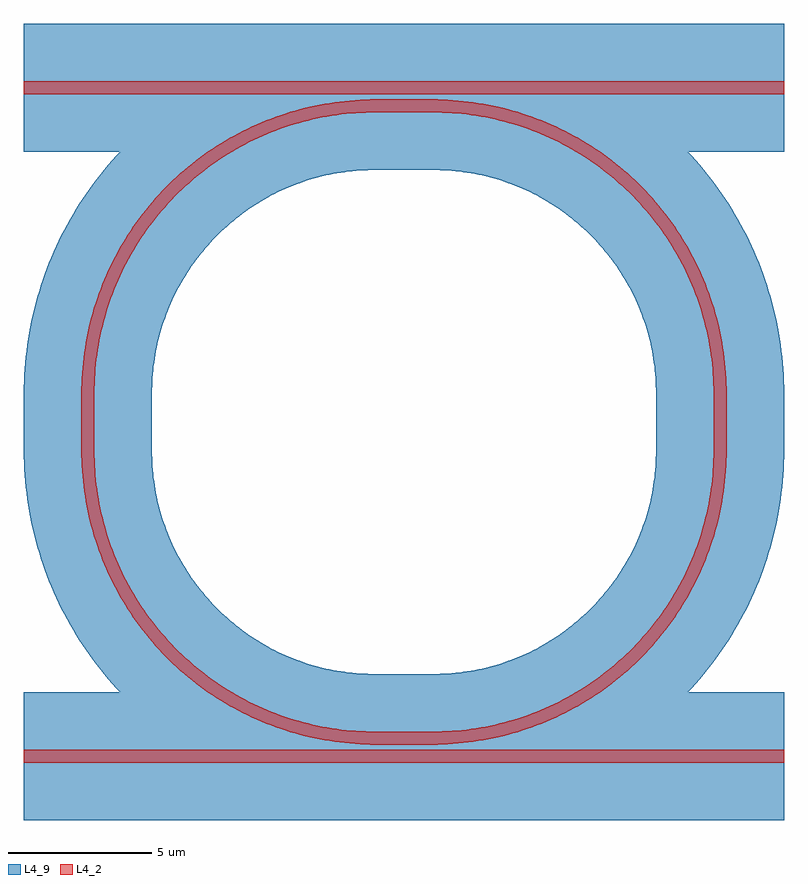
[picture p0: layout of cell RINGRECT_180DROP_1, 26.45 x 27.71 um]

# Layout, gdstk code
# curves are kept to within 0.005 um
from math import pi, radians
import gdstk
lib = gdstk.Library(unit=1e-6, precision=5e-09)
def R(c, l, rs):  # rectangles x0, y0, x1, y1
    for r in rs: c.add(gdstk.rectangle(r[:2], r[2:], *l))
def P(c, l, *ps):  # polygons
    for p in ps: c.add(gdstk.Polygon(p, *l))
L4_2 = (4, 2)
L4_9 = (4, 9)

ringrect_180drop_1_coupl = lib.new_cell('RINGRECT_180DROP_1_coupler_1_wg1a')
R(ringrect_180drop_1_coupl, L4_2, [(-13.225,-0.54,0,-0.09)])
P(ringrect_180drop_1_coupl, L4_9, [(-13.225,-2.54),(0,-2.54),(0,-0.54),(0,-0.09),(0,1.91),(-13.225,1.91),(-13.225,-0.09),(-13.225,-0.54)])

c_ringrect_180drop_1_coupl = lib.new_cell('RINGRECT_180DROP_1_coupler_1_wg1b')
R(c_ringrect_180drop_1_coupl, L4_2, [(0,-0.54,13.225,-0.09)])
P(c_ringrect_180drop_1_coupl, L4_9, [(0,-2.54),(13.225,-2.54),(13.225,-0.54),(13.225,-0.09),(13.225,1.91),(0,1.91),(0,-0.09),(0,-0.54)])

c_ringrect_180drop_1_coupl_ = lib.new_cell('RINGRECT_180DROP_1_coupler_1')
c_ringrect_180drop_1_coupl_.add(gdstk.Reference(ringrect_180drop_1_coupl, (0,0)))
c_ringrect_180drop_1_coupl_.add(gdstk.Reference(c_ringrect_180drop_1_coupl, (0,0)))

c_ringrect_180drop_1_coupl__ = lib.new_cell('RINGRECT_180DROP_1_coupler_2_wg1a')
R(c_ringrect_180drop_1_coupl__, L4_2, [(-13.225,-0.54,0,-0.09)])
P(c_ringrect_180drop_1_coupl__, L4_9, [(-13.225,-2.54),(0,-2.54),(0,-0.54),(0,-0.09),(0,1.91),(-13.225,1.91),(-13.225,-0.09),(-13.225,-0.54)])

c_ringrect_180drop_1_coupl___ = lib.new_cell('RINGRECT_180DROP_1_coupler_2_wg1b')
R(c_ringrect_180drop_1_coupl___, L4_2, [(0,-0.54,13.225,-0.09)])
P(c_ringrect_180drop_1_coupl___, L4_9, [(0,-2.54),(13.225,-2.54),(13.225,-0.54),(13.225,-0.09),(13.225,1.91),(0,1.91),(0,-0.09),(0,-0.54)])

c_ringrect_180drop_1_coupl____ = lib.new_cell('RINGRECT_180DROP_1_coupler_2')
c_ringrect_180drop_1_coupl____.add(gdstk.Reference(c_ringrect_180drop_1_coupl__, (0,0)))
c_ringrect_180drop_1_coupl____.add(gdstk.Reference(c_ringrect_180drop_1_coupl___, (0,0)))

ringrect_180drop_1_ring = lib.new_cell('RINGRECT_180DROP_1_ring')
P(ringrect_180drop_1_ring, L4_2, [(0,-11.225),(1.355,-11.22),(1.705,-11.2),(2.41,-11.13),(2.755,-11.075),(3.445,-10.93),(3.79,-10.84),(4.295,-10.68),(4.955,-10.43),(5.275,-10.29),(5.75,-10.055),(6.06,-9.885),(6.365,-9.705),(6.81,-9.415),(7.235,-9.105),(7.51,-8.885),(7.78,-8.655),(8.17,-8.29),(8.415,-8.04),(8.655,-7.78),(8.995,-7.375),(9.315,-6.955),(9.61,-6.515),(9.885,-6.06),(10.135,-5.595),(10.29,-5.275),(10.43,-4.955),(10.56,-4.625),(10.68,-4.295),(10.79,-3.96),(10.885,-3.62),(11.005,-3.105),(11.075,-2.755),(11.13,-2.41),(11.2,-1.705),(11.22,-1.355),(11.225,0),(10.775,0),(10.77,-1.335),(10.725,-2.01),(10.63,-2.68),(10.53,-3.175),(10.405,-3.665),(10.255,-4.15),(10.08,-4.625),(9.88,-5.09),(9.655,-5.545),(9.41,-5.985),(9.14,-6.415),(8.95,-6.69),(8.64,-7.095),(8.425,-7.355),(8.09,-7.73),(7.73,-8.09),(7.355,-8.425),(7.095,-8.64),(6.825,-8.85),(6.555,-9.045),(6.13,-9.32),(5.84,-9.495),(5.545,-9.655),(4.935,-9.95),(4.625,-10.08),(4.31,-10.2),(3.665,-10.405),(3.175,-10.53),(2.68,-10.63),(2.01,-10.725),(1.335,-10.77),(0,-10.775)])
P(ringrect_180drop_1_ring, L4_9, [(0,-13.225),(1.42,-13.22),(2.055,-13.18),(2.685,-13.11),(3.1,-13.045),(3.515,-12.965),(4.13,-12.82),(4.74,-12.64),(5.135,-12.505),(5.725,-12.275),(6.305,-12.015),(6.865,-11.725),(7.235,-11.515),(7.595,-11.295),(7.945,-11.06),(8.29,-10.815),(8.62,-10.56),(8.95,-10.29),(9.265,-10.01),(9.57,-9.72),(10.01,-9.265),(10.29,-8.95),(10.56,-8.62),(10.815,-8.29),(11.06,-7.945),(11.295,-7.595),(11.515,-7.235),(11.725,-6.865),(11.92,-6.495),(12.105,-6.115),(12.275,-5.725),(12.43,-5.335),(12.575,-4.94),(12.64,-4.74),(12.82,-4.13),(12.965,-3.515),(13.08,-2.89),(13.16,-2.265),(13.21,-1.635),(13.225,-1.21),(13.225,0),(8.775,0),(8.775,-1.135),(8.765,-1.4),(8.735,-1.805),(8.66,-2.335),(8.61,-2.6),(8.55,-2.86),(8.405,-3.375),(8.27,-3.755),(8.17,-4.005),(8.005,-4.375),(7.885,-4.615),(7.69,-4.965),(7.4,-5.415),(7.08,-5.85),(6.91,-6.055),(6.64,-6.355),(6.355,-6.64),(6.055,-6.91),(5.85,-7.08),(5.305,-7.475),(4.965,-7.69),(4.615,-7.885),(4.375,-8.005),(4.13,-8.115),(3.755,-8.27),(3.25,-8.445),(2.86,-8.55),(2.6,-8.61),(2.335,-8.66),(1.935,-8.72),(1.4,-8.765),(1.135,-8.775),(0,-8.775)])

ringrect_180drop_1 = lib.new_cell('RINGRECT_180DROP_1')
ringrect_180drop_1.add(gdstk.Reference(c_ringrect_180drop_1_coupl_, (0,-11.315)))
ringrect_180drop_1.add(gdstk.Reference(c_ringrect_180drop_1_coupl____, (0,11.315), rotation=pi))
ringrect_180drop_1.add(gdstk.Reference(ringrect_180drop_1_ring, (0,0)))
ringrect_180drop_1.add(gdstk.Reference(ringrect_180drop_1_ring, (0,0), x_reflection=True))
ringrect_180drop_1.add(gdstk.Reference(ringrect_180drop_1_ring, (0,0), rotation=pi))
ringrect_180drop_1.add(gdstk.Reference(ringrect_180drop_1_ring, (0,0), rotation=pi, x_reflection=True))

lib.write_gds('RINGRECT_180DROP_1.gds')
